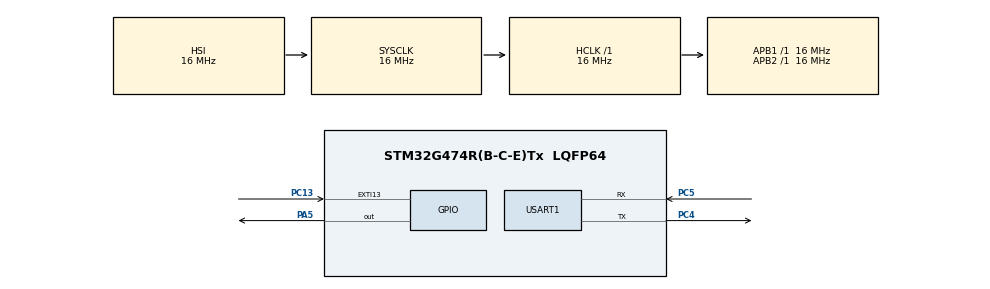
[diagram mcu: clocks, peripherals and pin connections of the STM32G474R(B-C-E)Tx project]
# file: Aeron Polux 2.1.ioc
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Mcu.Family=STM32G4
Mcu.Name=STM32G474R(B-C-E)Tx
Mcu.Package=LQFP64
NUCLEO-G474RE.BUTTON=1
NUCLEO-G474RE.LD2=true
NUCLEO-G474RE.VCP=true
NVIC.EXTI15_10_IRQn=true\:0\:0\:false\:false\:true\:true\:true\:true
NVIC.PriorityGroup=NVIC_PRIORITYGROUP_4
NVIC.USART1_IRQn=true\:0\:0\:false\:false\:true\:true\:true\:true
PA13.GPIO_Label=T_SWDIO
PA13.Signal=SYS_JTMS-SWDIO
PA14.GPIO_Label=T_SWCLK
PA14.Signal=SYS_JTCK-SWCLK
PA2.Signal=LPUART1_TX
PA3.Signal=LPUART1_RX
PA5.Signal=GPIO_Output
PB3.GPIO_Label=T_SWO
PB3.Signal=SYS_JTDO-SWO
PC13.Signal=GPXTI13
PC14-OSC32_IN.GPIO_Label=RCC_OSC32_IN
PC14-OSC32_IN.Signal=RCC_OSC32_IN
PC15-OSC32_OUT.GPIO_Label=RCC_OSC32_OUT
PC15-OSC32_OUT.Signal=RCC_OSC32_OUT
PC4.Mode=Asynchronous
PC4.Signal=USART1_TX
PC5.Mode=Asynchronous
PC5.Signal=USART1_RX
PF0-OSC_IN.GPIO_Label=RCC_OSC_IN
PF0-OSC_IN.Mode=HSE-External-Oscillator
PF0-OSC_IN.Signal=RCC_OSC_IN
PF1-OSC_OUT.GPIO_Label=RCC_OSC_OUT
PF1-OSC_OUT.Mode=HSE-External-Oscillator
PF1-OSC_OUT.Signal=RCC_OSC_OUT
ProjectManager.HeapSize=0x200
ProjectManager.StackSize=0x400
ProjectManager.TargetToolchain=STM32CubeIDE
RCC.ADC12Freq_Value=16000000
RCC.ADC345Freq_Value=16000000
RCC.AHBFreq_Value=16000000
RCC.APB1Freq_Value=16000000
RCC.APB1TimFreq_Value=16000000
RCC.APB2Freq_Value=16000000
RCC.APB2TimFreq_Value=16000000
RCC.CortexFreq_Value=16000000
RCC.EXTERNAL_CLOCK_VALUE=12288000
RCC.HCLKFreq_Value=16000000
RCC.HSE_VALUE=24000000
RCC.HSI48_VALUE=48000000
RCC.HSI_VALUE=16000000
RCC.LSE_VALUE=32768
RCC.RTCClockSelection=RCC_RTCCLKSOURCE_LSE
RCC.SYSCLKFreq_VALUE=16000000
RCC.USBFreq_Value=64000000
RCC.VCOOutputFreq_Value=128000000
USART1.VirtualMode-Asynchronous=VM_ASYNC
VP_NUCLEO-G474RE_VS_BSP_COMMON.Mode=COMMON
VP_SYS_VS_DBSignals.Mode=DisableDeadBatterySignals
board=NUCLEO-G474RE

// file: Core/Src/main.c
/* USER CODE BEGIN Header */
/**
  ******************************************************************************
  * @file           : main.c
  * @brief          : Main program body
  ******************************************************************************
  * @attention
  *
  * Copyright (c) 2025 STMicroelectronics.
  * All rights reserved.
  *
  * This software is licensed under terms that can be found in the LICENSE file
  * in the root directory of this software component.
  * If no LICENSE file comes with this software, it is provided AS-IS.
  *
  ******************************************************************************
  */
/* USER CODE END Header */
#include "main.h"
#include <stdio.h>
#include <string.h>

int count = -1;
int i, j, k, l, m, n, o;

/* USER CODE BEGIN PTD */

#define RxBuff_size 1000
#define MAX_FIELDS 500
#define MAX_STRING_LENGTH 100
int zero;
char temp;
void SystemClock_Config(void);
void MX_GPIO_Init(void);
void MX_USART1_UART_Init(void);
char GPGGA[100], GPRMC[100], AOVEL[100], AOATT[100], AOGPS[100], AOSTS[100], AOSEN[100];
typedef struct {
    char data[MAX_STRING_LENGTH];
    uint8_t length;
} string;

/* USER CODE END PTD */

COM_InitTypeDef BspCOMInit;
UART_HandleTypeDef huart1;

/* USER CODE BEGIN PV */

//string GPGGAstr; // Buffer for GPGGA
//string GPRMCstr; // Buffer for GPRMC
//string AOVELstr; // Buffer for AOVEL
//string AOATTstr; // Buffer for AOATT
//string AOGPSstr; // Buffer for AOGPS
//string AOSTSstr; // Buffer for AOSTS
//string AOSENstr; // Buffer for AOSEN
//#define BUFFER_SIZE 100
//
//char GPGGAstr[BUFFER_SIZE] = "";  // Buffer for GPGGA
//char GPRMCstr[BUFFER_SIZE] = "";  // Buffer for GPRMC
//char AOVELstr[BUFFER_SIZE] = "";  // Buffer for AOVEL
//char AOATTstr[BUFFER_SIZE] = "";  // Buffer for AOATT
//char AOGPSstr[BUFFER_SIZE] = "";  // Buffer for AOGPS
//char AOSTSstr[BUFFER_SIZE] = "";  // Buffer for AOSTS
//char AOSENstr[BUFFER_SIZE] = "";  // Buffer for AOSEN

/* USER CODE END PV */

void SystemClock_Config(void);
void MX_GPIO_Init(void);
void MX_USART1_UART_Init(void);

/* USER CODE BEGIN 0 */

/**
  * @brief UART RX Complete Callback
  * @param huart: UART handle
  */
void HAL_UART_RxCpltCallback(UART_HandleTypeDef *huart) {
    if (huart->Instance == USART1) {
        // Check if the received character is a newline or carriage return

        if (temp == '$') {
        	count++;

        }

        if (count == 7){
            		count = 0;
            	}

        switch(count){
        case 0:
        	o = 0;
        	GPGGA[i] = temp;

        	i++;
        	break;

        case 1:
        	i = 0;
        	GPRMC[j] = temp;

        	j++;
        	break;

        case 2:
        	j = 0;
        	AOVEL[k] = temp;

        	k++;
        	break;

        case 3:
        	k = 0;
        	AOATT[l] = temp;

        	l++;
        	break;

        case 4:
        	l = 0;
        	AOGPS[m] = temp;

        	m++;
        	break;

        case 5:
        	m = 0;
        	AOSTS[n] = temp;

        	n++;
        	break;

        case 6:
        	n = 0;
        	AOSEN[o] = temp;

        	o++;
        	break;

        }

        HAL_UART_Receive_IT(&huart1, (char*)&temp, 1);

        // Restart UART reception for the next character
//        HAL_UART_Receive_IT(&huart1, &RxBuff[RxIndex], 1); // Receive one byte at a time
    }
}

/* USER CODE END 0 */

int main(void)
{

  /* MCU Configuration--------------------------------------------------------*/

  /* Reset of all peripherals, Initializes the Flash interface and the Systick. */
  HAL_Init();

  /* Configure the system clock */
  SystemClock_Config();

  /* Initialize all configured peripherals */
  MX_GPIO_Init();
  MX_USART1_UART_Init();

  /* Initialize led */
  BSP_LED_Init(LED_GREEN);

  /* Initialize USER push-button, will be used to trigger an interrupt each time it's pressed.*/
  BSP_PB_Init(BUTTON_USER, BUTTON_MODE_EXTI);

  /* Initialize COM1 port (115200, 8 bits (7-bit data + 1 stop bit), no parity */
  BspCOMInit.BaudRate   = 115200;
  BspCOMInit.WordLength = COM_WORDLENGTH_8B;
  BspCOMInit.StopBits   = COM_STOPBITS_1;
  BspCOMInit.Parity     = COM_PARITY_NONE;
  BspCOMInit.HwFlowCtl  = COM_HWCONTROL_NONE;
  if (BSP_COM_Init(COM1, &BspCOMInit) != BSP_ERROR_NONE)
  {
    Error_Handler();
  }

  /* Infinite loop */
  while (1)
  {
	  HAL_UART_Receive_IT(&huart1, (char*)&temp, 1);
  }
}

void SystemClock_Config(void)
{
  RCC_OscInitTypeDef RCC_OscInitStruct = {0};
  RCC_ClkInitTypeDef RCC_ClkInitStruct = {0};

  /** Configure the main internal regulator output voltage
  */
  HAL_PWREx_ControlVoltageScaling(PWR_REGULATOR_VOLTAGE_SCALE1);

  /** Initializes the RCC Oscillators according to the specified parameters
  * in the RCC_OscInitTypeDef structure.
  */
  RCC_OscInitStruct.OscillatorType = RCC_OSCILLATORTYPE_HSI;
  RCC_OscInitStruct.HSIState = RCC_HSI_ON;
  RCC_OscInitStruct.HSICalibrationValue = RCC_HSICALIBRATION_DEFAULT;
  RCC_OscInitStruct.PLL.PLLState = RCC_PLL_NONE;
  if (HAL_RCC_OscConfig(&RCC_OscInitStruct) != HAL_OK)
  {
    Error_Handler();
  }

  /** Initializes the CPU, AHB and APB buses clocks
  */
  RCC_ClkInitStruct.ClockType = RCC_CLOCKTYPE_HCLK|RCC_CLOCKTYPE_SYSCLK
                              |RCC_CLOCKTYPE_PCLK1|RCC_CLOCKTYPE_PCLK2;
  RCC_ClkInitStruct.SYSCLKSource = RCC_SYSCLKSOURCE_HSI;
  RCC_ClkInitStruct.AHBCLKDivider = RCC_SYSCLK_DIV1;
  RCC_ClkInitStruct.APB1CLKDivider = RCC_HCLK_DIV1;
  RCC_ClkInitStruct.APB2CLKDivider = RCC_HCLK_DIV1;

  if (HAL_RCC_ClockConfig(&RCC_ClkInitStruct, FLASH_LATENCY_0) != HAL_OK)
  {
    Error_Handler();
  }
}

void MX_USART1_UART_Init(void)
{

  huart1.Instance = USART1;
  huart1.Init.BaudRate = 115200;
  huart1.Init.WordLength = UART_WORDLENGTH_8B;
  huart1.Init.StopBits = UART_STOPBITS_1;
  huart1.Init.Parity = UART_PARITY_NONE;
  huart1.Init.Mode = UART_MODE_TX_RX;
  huart1.Init.HwFlowCtl = UART_HWCONTROL_NONE;
  huart1.Init.OverSampling = UART_OVERSAMPLING_16;
  huart1.Init.OneBitSampling = UART_ONE_BIT_SAMPLE_DISABLE;
  huart1.Init.ClockPrescaler = UART_PRESCALER_DIV1;
  huart1.AdvancedInit.AdvFeatureInit = UART_ADVFEATURE_NO_INIT;
  if (HAL_UART_Init(&huart1) != HAL_OK)
  {
    Error_Handler();
  }
  if (HAL_UARTEx_SetTxFifoThreshold(&huart1, UART_TXFIFO_THRESHOLD_1_8) != HAL_OK)
  {
    Error_Handler();
  }
  if (HAL_UARTEx_SetRxFifoThreshold(&huart1, UART_RXFIFO_THRESHOLD_1_8) != HAL_OK)
  {
    Error_Handler();
  }
  if (HAL_UARTEx_DisableFifoMode(&huart1) != HAL_OK)
  {
    Error_Handler();
  }

}

void MX_GPIO_Init(void)
{

  /* GPIO Ports Clock Enable */
  __HAL_RCC_GPIOC_CLK_ENABLE();
  __HAL_RCC_GPIOF_CLK_ENABLE();
  __HAL_RCC_GPIOA_CLK_ENABLE();
  __HAL_RCC_GPIOB_CLK_ENABLE();

}

void Error_Handler(void)
{
  __disable_irq();
  while (1)
  {
  }
}
